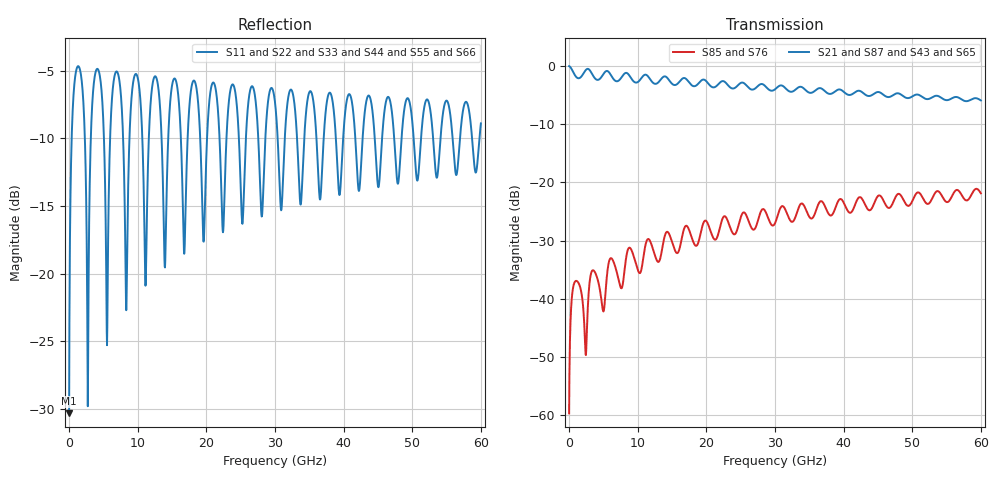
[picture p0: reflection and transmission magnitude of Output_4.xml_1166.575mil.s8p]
# Hz S ri R 50
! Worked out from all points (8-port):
!   1500 points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, 40 MHz to 60 GHz, reference 50 ohm
!   strongest paths, dB at 40 MHz, 15.04 GHz, 30.04 GHz, 45.04 GHz, 60 GHz:
!     S21: 0.0, -3.1, -4.0, -4.5, -5.9
!     S87: 0.0, -3.1, -4.0, -4.5, -5.9
!     S43: 0.0, -3.1, -4.0, -4.6, -6.0
!     S65: 0.0, -3.1, -4.0, -4.6, -6.0
!     S85: -59.7, -30.3, -27.0, -22.3, -21.9
!     S76: -59.7, -30.3, -27.0, -22.3, -21.9
!   lowest |S11| = -30.3 dB at 40 MHz (marker M1), VSWR 1.06, Z = 49.9 - j3.05 ohm
!   |S11| at or under -10 dB: 41.71 GHz to 42.78 GHz (1.064 GHz wide, 2.52 % of centre); 44.54 GHz to 45.61 GHz (1.068 GHz wide, 2.37 % of centre); 47.38 GHz to 48.45 GHz (1.071 GHz wide, 2.24 % of centre)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
